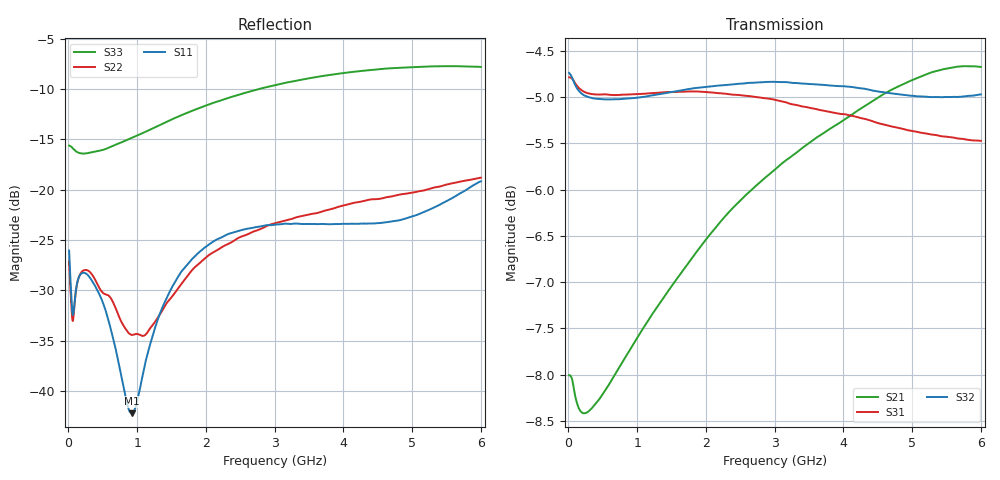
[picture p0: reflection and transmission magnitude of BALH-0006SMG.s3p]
! MARKI MICROWAVE INC.
! Email:  info@markimicrowave.com  Phone:  408-778-4200
! Model Number:  BALH-0006SMG  Date:  06/13
! Filename:		BALH-0006SMG.S3P  Version: 1.0
! Description:  3-port S-parameter data for Balun BALH-0006SMG
! Frequency Range: 	10 MHz to 6 GHz
! Port Configuration:	PORT 1: OUTPUT (0 DEGREE), PORT 2: OUTPUT (180 DEGREE), PORT 3:COMMON
! S3P File: Measurements: Mag<S11> Ang<S11> Mag<S12> Ang<S12> Mag<S13> Ang<S13>! row 1
!  Mag<S21> Ang<S21> Mag<S22> Ang<S22> Mag<S23> Ang<S23>! row 2
!  Mag<S31> Ang<S31> Mag<S32> Ang<S32> Mag<S33> Ang<S33>! row 3
# Hz S  dB  R 50
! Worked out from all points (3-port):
!   801 points, 10 MHz to 6 GHz, reference 50 ohm
!   strongest paths, dB at 10 MHz, 1.508 GHz, 3.005 GHz, 4.503 GHz, 6 GHz:
!     S32: -4.7, -4.9, -4.8, -4.9, -5.0
!     S31: -4.8, -4.9, -5.0, -5.3, -5.5
!     S21: -8.0, -7.0, -5.8, -5.0, -4.7
!   lowest |S11| = -42.2 dB at 923.5 MHz (marker M1), VSWR 1.02, Z = 49.2 + j0.131 ohm
!   |S11| at or under -10 dB: start of sweep to end of sweep
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1e7  -26.05 119.8  -8.02 3.6  -4.79 -0.8
     -8.01 3.4  -27.11 118.3  -4.74 178.5
     -4.79 0.3  -4.74 179.9  -15.62 9.6
6.99e7  -32.38 174.6  -8.12 -5.3  -4.82 -6.2
        -8.11 -5.3  -32.87 176.6  -4.82 173.3
        -4.81 -6.5  -4.82 173.1  -15.95 -8.9
4.74225e8  -30.75 137.8  -8.24 -31.6  -4.97 -41.6
           -8.24 -31.6  -30.03 109.3  -5.02 137.7
           -4.97 -41.6  -5.02 137.7  -16.10 -55.4
9.23475e8  -42.21 170.1  -7.70 -63.2  -4.97 -80.7
           -7.70 -63.2  -34.43 17.0  -5.01 98.3
           -4.97 -80.7  -5.01 98.3  -14.86 -105.4
1.994188e9  -25.70 166.6  -6.55 -144.6  -4.95 -174.6
            -6.55 -144.6  -26.76 -153.5  -4.89 3.7
            -4.94 -174.7  -4.89 3.6  -11.66 144.4
3.005e9  -23.48 99.0  -5.79 134.9  -5.03 96.3
         -5.78 134.9  -23.33 122.9  -4.83 -86.0
         -5.03 96.3  -4.84 -86.1  -9.62 49.7
3.881038e9  -23.42 37.7  -5.31 64.1  -5.17 19.2
            -5.31 64.1  -21.80 53.2  -4.88 -163.4
            -5.17 19.1  -4.88 -163.4  -8.53 -29.1
4.644762e9  -23.23 -15.8  -4.94 1.5  -5.31 -48.1
            -4.94 1.5  -20.74 -5.1  -4.96 129.7
            -5.31 -48.1  -4.95 129.6  -7.96 -96.7
5.273712e9  -21.92 -59.0  -4.73 -51.2  -5.40 -103.3
            -4.73 -51.2  -19.88 -50.1  -5.00 75.3
            -5.40 -103.4  -5.00 75.2  -7.76 -151.3
6e9  -19.17 -109.4  -4.67 -112.2  -5.48 -166.4
     -4.67 -112.2  -18.81 -97.6  -4.98 13.6
     -5.47 -166.5  -4.97 13.5  -7.81 148.7
